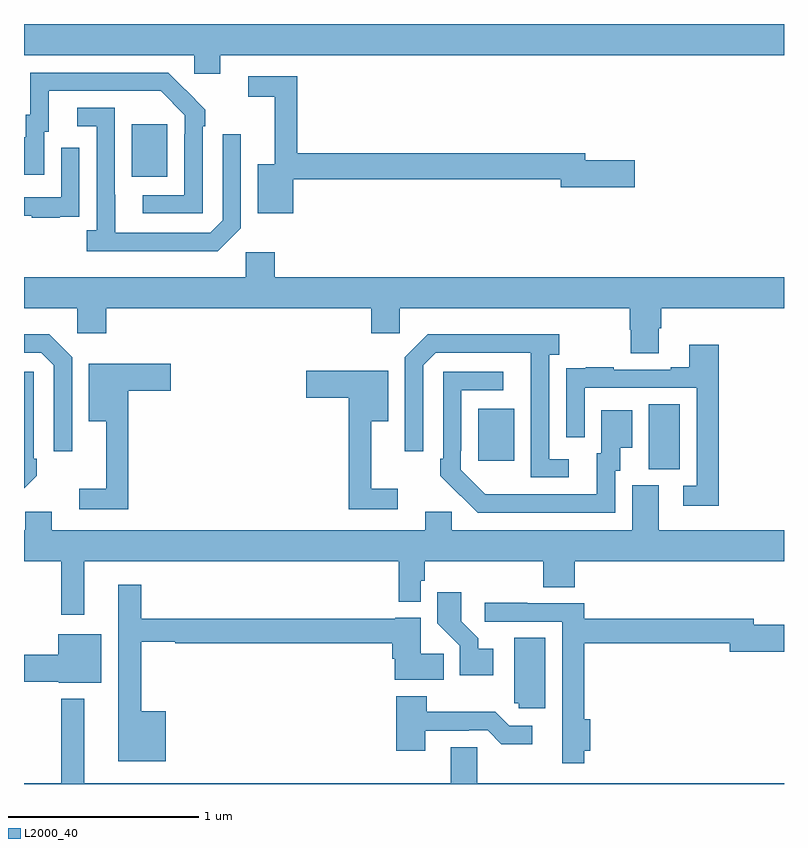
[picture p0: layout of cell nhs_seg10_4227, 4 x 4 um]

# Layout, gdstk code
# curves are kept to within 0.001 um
import gdstk
lib = gdstk.Library(unit=1e-6, precision=1e-09)
def R(c, l, rs):  # rectangles x0, y0, x1, y1
    for r in rs: c.add(gdstk.rectangle(r[:2], r[2:], *l))
def P(c, l, *ps):  # polygons
    for p in ps: c.add(gdstk.Polygon(p, *l))
L2000_40 = (2000, 40)

nhs_seg10_4227 = lib.new_cell('nhs_seg10_4227')
R(nhs_seg10_4227, L2000_40, [(350.288,1278.157,350.452,1278.5), (349.391,1278.201,349.579,1278.475), (347.567,1279.697,347.755,1279.972)])
P(nhs_seg10_4227, L2000_40, [(348.034,1280.336),(351,1280.336),(351,1280.5),(347,1280.5),(347,1280.336),(347.895,1280.336),(347.895,1280.238),(348.034,1280.238)],
  [(347.94,1279.961),(347.955,1279.961),(347.955,1280.049),(347.758,1280.244),(347.034,1280.244),(347.034,1280.022),(347.009,1280.022),(347.009,1279.903),(347,1279.903),(347,1279.707),(347.107,1279.707),(347.107,1279.932),(347.131,1279.932),(347.131,1280.148),(347.719,1280.148),(347.847,1280.019),(347.847,1279.919),(347.844,1279.919),(347.844,1279.599),(347.625,1279.599),(347.625,1279.503),(347.94,1279.503)],
  [(348.417,1279.684),(349.826,1279.684),(349.826,1279.642),(350.215,1279.642),(350.215,1279.784),(349.954,1279.784),(349.954,1279.82),(348.437,1279.82),(348.437,1280.226),(348.18,1280.226),(348.18,1280.118),(348.32,1280.118),(348.32,1279.762),(348.23,1279.762),(348.23,1279.505),(348.417,1279.505)],
  [(348.141,1279.425),(348.141,1279.921),(348.045,1279.921),(348.045,1279.467),(347.979,1279.401),(347.479,1279.401),(347.478,1280.058),(347.28,1280.058),(347.28,1279.962),(347.382,1279.962),(347.382,1279.414),(347.331,1279.414),(347.331,1279.304),(348.02,1279.304)],
  [(347.189,1279.485),(347.291,1279.485),(347.291,1279.594),(347.292,1279.594),(347.292,1279.849),(347.196,1279.849),(347.196,1279.587),(347,1279.587),(347,1279.491),(347.041,1279.491),(347.041,1279.479),(347.189,1279.479)],
  [(350.341,1278.898),(350.354,1278.898),(350.354,1279.004),(351,1279.004),(351,1279.168),(348.32,1279.168),(348.32,1279.3),(348.168,1279.3),(348.168,1279.168),(347,1279.168),(347,1279.004),(347.28,1279.004),(347.28,1278.873),(347.432,1278.873),(347.432,1279.004),(348.827,1279.004),(348.827,1278.873),(348.978,1278.873),(348.978,1279.004),(350.189,1279.004),(350.189,1278.891),(350.194,1278.891),(350.194,1278.766),(350.341,1278.766)],
  [(347.253,1278.747),(347.132,1278.868),(347,1278.868),(347,1278.771),(347.091,1278.771),(347.157,1278.705),(347.157,1278.252),(347.253,1278.252)],
  [(349.867,1278.21),(349.764,1278.21),(349.764,1278.758),(349.816,1278.758),(349.816,1278.868),(349.126,1278.868),(349.005,1278.747),(349.005,1278.252),(349.101,1278.252),(349.101,1278.705),(349.167,1278.771),(349.667,1278.771),(349.668,1278.114),(349.867,1278.114)],
  [(350.657,1278.811),(350.501,1278.811),(350.501,1278.694),(350.405,1278.694),(350.405,1278.681),(350.105,1278.681),(350.105,1278.694),(349.957,1278.694),(349.957,1278.687),(349.855,1278.687),(349.855,1278.578),(349.854,1278.578),(349.854,1278.324),(349.95,1278.324),(349.95,1278.585),(350.541,1278.585),(350.541,1278.069),(350.469,1278.069),(350.469,1277.964),(350.657,1277.964)],
  [(347.549,1278.569),(347.773,1278.569),(347.773,1278.711),(347.342,1278.711),(347.342,1278.41),(347.432,1278.41),(347.432,1278.055),(347.292,1278.055),(347.292,1277.946),(347.549,1277.946)],
  [(348.967,1278.055),(348.827,1278.055),(348.827,1278.41),(348.916,1278.41),(348.916,1278.675),(348.486,1278.675),(348.486,1278.533),(348.709,1278.533),(348.709,1277.946),(348.967,1277.946)],
  [(350.112,1278.15),(350.137,1278.15),(350.137,1278.269),(350.2,1278.269),(350.2,1278.466),(350.039,1278.466),(350.039,1278.24),(350.015,1278.24),(350.015,1278.024),(349.428,1278.025),(349.299,1278.153),(349.299,1278.253),(349.302,1278.253),(349.302,1278.573),(349.522,1278.573),(349.522,1278.669),(349.206,1278.669),(349.206,1278.211),(349.191,1278.211),(349.191,1278.123),(349.388,1277.928),(350.112,1277.928)],
  [(347.067,1278.123),(347.067,1278.211),(347.052,1278.211),(347.052,1278.669),(347,1278.669),(347,1278.056)],
  [(347.317,1277.672),(348.973,1277.672),(348.973,1277.459),(349.089,1277.459),(349.089,1277.571),(349.109,1277.571),(349.109,1277.672),(349.733,1277.672),(349.733,1277.536),(349.898,1277.536),(349.898,1277.672),(351,1277.672),(351,1277.836),(350.341,1277.836),(350.341,1278.072),(350.201,1278.072),(350.201,1277.836),(349.251,1277.836),(349.251,1277.934),(349.112,1277.934),(349.112,1277.836),(347.146,1277.836),(347.146,1277.934),(347.007,1277.934),(347.007,1277.836),(347,1277.836),(347,1277.672),(347.196,1277.672),(347.196,1277.391),(347.317,1277.391)],
  [(347.746,1276.882),(347.617,1276.882),(347.617,1277.25),(347.795,1277.25),(347.795,1277.242),(348.938,1277.242),(348.938,1277.159),(348.95,1277.159),(348.95,1277.048),(349.208,1277.048),(349.208,1277.186),(349.087,1277.186),(349.087,1277.374),(348.954,1277.374),(348.954,1277.371),(347.617,1277.371),(347.617,1277.548),(347.495,1277.548),(347.495,1276.619),(347.746,1276.619)],
  [(349.471,1277.212),(349.39,1277.212),(349.39,1277.267),(349.3,1277.357),(349.3,1277.509),(349.174,1277.509),(349.174,1277.346),(349.293,1277.227),(349.293,1277.072),(349.471,1277.072)],
  [(349.949,1276.676),(349.979,1276.676),(349.979,1276.842),(349.949,1276.842),(349.949,1277.242),(350.714,1277.242),(350.714,1277.195),(351,1277.195),(351,1277.337),(350.842,1277.337),(350.842,1277.371),(349.949,1277.371),(349.949,1277.451),(349.649,1277.451),(349.649,1277.454),(349.425,1277.454),(349.425,1277.355),(349.833,1277.355),(349.833,1276.83),(349.832,1276.83),(349.832,1276.608),(349.949,1276.608)],
  [(347.407,1277.287),(347.18,1277.287),(347.18,1277.181),(347,1277.181),(347,1277.039),(347.184,1277.039),(347.184,1277.033),(347.407,1277.033)],
  [(349.744,1277.27),(349.58,1277.27),(349.58,1276.926),(349.605,1276.926),(349.605,1276.899),(349.744,1276.899)],
  [(349.111,1276.779),(349.34,1276.779),(349.34,1276.782),(349.44,1276.782),(349.513,1276.709),(349.675,1276.709),(349.675,1276.806),(349.554,1276.806),(349.481,1276.879),(349.119,1276.879),(349.119,1276.963),(348.959,1276.963),(348.959,1276.674),(349.111,1276.674)],
  [(351,1276.504),(349.386,1276.504),(349.386,1276.694),(349.247,1276.694),(349.247,1276.504),(347.317,1276.504),(347.317,1276.948),(347.196,1276.948),(347.196,1276.504),(347,1276.504),(347,1276.5),(351,1276.5)])

lib.write_gds('nhs_seg10_4227.gds')
